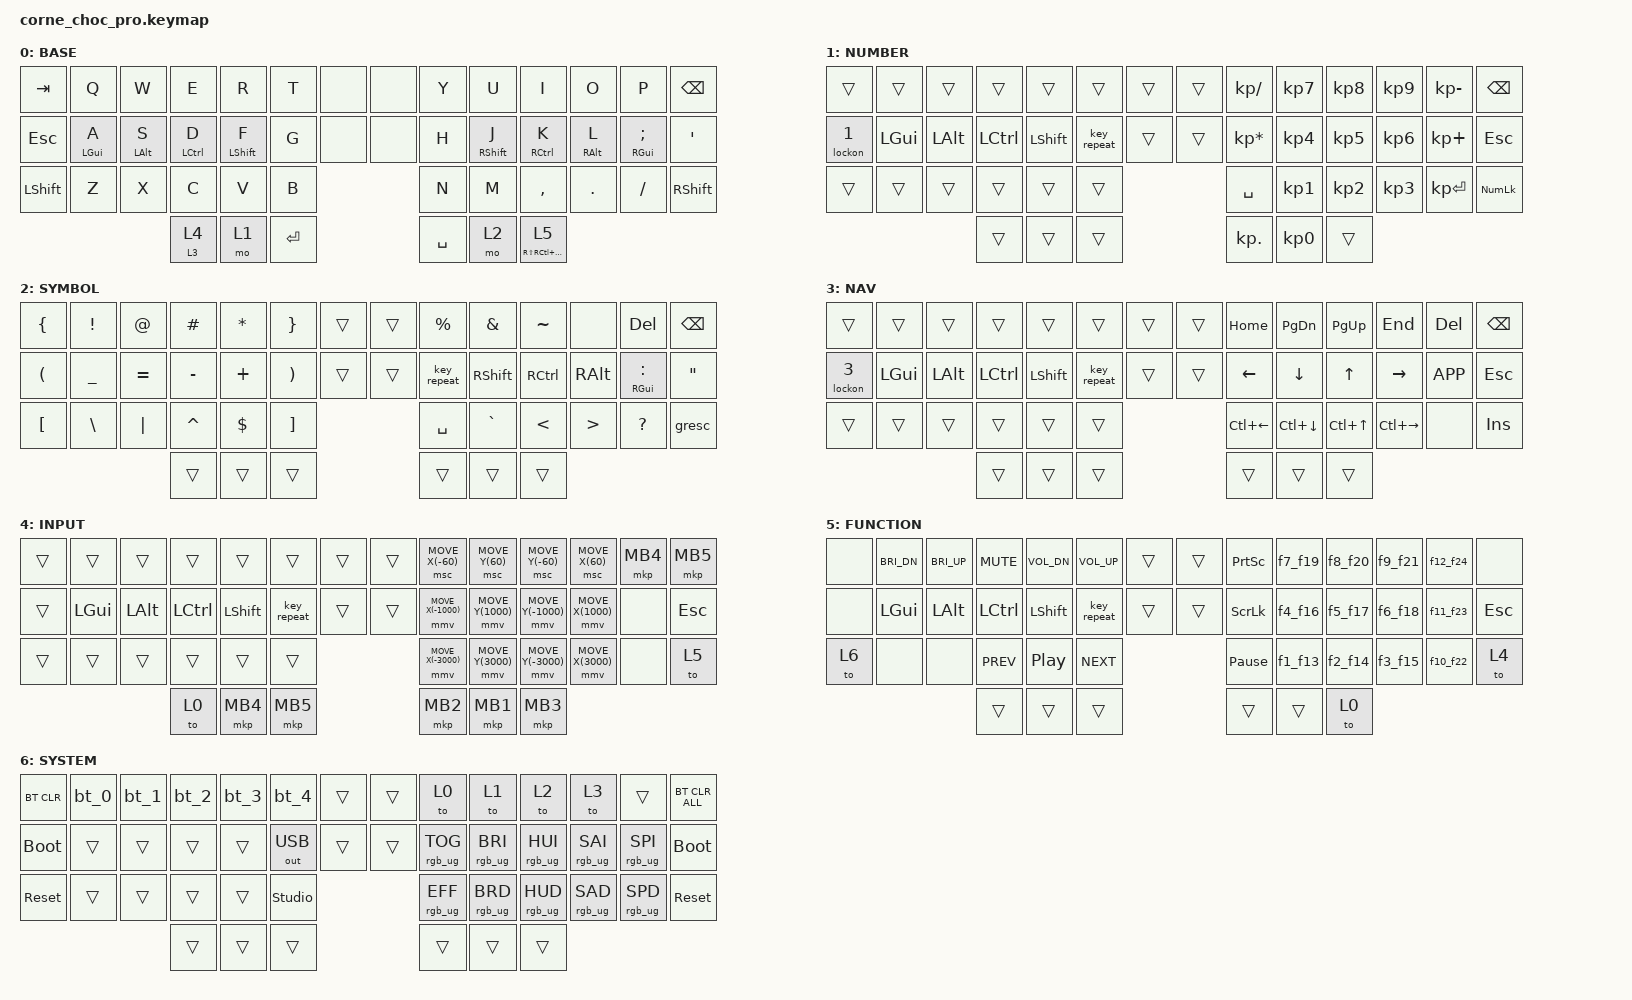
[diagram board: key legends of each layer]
/*
 * Copyright (c) 2020 The ZMK Contributors
 *
 * SPDX-License-Identifier: MIT
 */

#include <behaviors.dtsi>
#include <dt-bindings/zmk/bt.h>
#include <dt-bindings/zmk/keys.h>
#include <dt-bindings/zmk/outputs.h>
#include <dt-bindings/zmk/pointing.h>
#include <dt-bindings/zmk/rgb.h>

/ {
    chosen { zmk,physical-layout = &default_layout; };

    behaviors {
        lhrm: l_home_row_mod {
            compatible = "zmk,behavior-hold-tap";
            label = "L_HOME_ROW_MOD";
            bindings = <&kp>, <&kp>;

            #binding-cells = <2>;
            tapping-term-ms = <275>;
            flavor = "balanced";
            quick-tap-ms = <175>;
            require-prior-idle-ms = <150>;
            hold-trigger-on-release;
            hold-trigger-key-positions = <7 8 9 10 11 12 13 21 22 23 24 25 26 27 34 35 36 37 38 39 43 44 45 41 42 40>;
        };

        rhrm: r_home_row_mod {
            compatible = "zmk,behavior-hold-tap";
            label = "R_HOME_ROW_MOD";
            bindings = <&kp>, <&kp>;

            #binding-cells = <2>;
            tapping-term-ms = <275>;
            flavor = "balanced";
            quick-tap-ms = <175>;
            require-prior-idle-ms = <150>;
            hold-trigger-on-release;
            hold-trigger-key-positions = <0 1 2 3 4 5 6 14 15 16 17 18 19 20 28 29 30 31 32 33 40 41 42 43 44 45>;
        };

        hldto: hldto {
            compatible = "zmk,behavior-hold-tap";
            label = "HLDTO";
            bindings = <&kp>, <&to>;

            #binding-cells = <2>;
            tapping-term-ms = <150>;
        };

        f1_f13: f1_f13 {
            compatible = "zmk,behavior-mod-morph";
            label = "F1_F13";
            bindings = <&kp F1>, <&kp F13>;

            #binding-cells = <0>;
            mods = <(MOD_LSFT)>;
        };

        f2_f14: f2_f14 {
            compatible = "zmk,behavior-mod-morph";
            label = "F2_F14";
            bindings = <&kp F2>, <&kp F14>;

            #binding-cells = <0>;
            mods = <(MOD_LSFT)>;
        };

        f3_f15: f3_f15 {
            compatible = "zmk,behavior-mod-morph";
            label = "F3_F15";
            bindings = <&kp F3>, <&kp F15>;

            #binding-cells = <0>;
            mods = <(MOD_LSFT)>;
        };

        f4_f16: f4_f16 {
            compatible = "zmk,behavior-mod-morph";
            label = "F4_F16";
            bindings = <&kp F4>, <&kp F16>;

            #binding-cells = <0>;
            mods = <(MOD_LSFT)>;
        };

        f5_f17: f5_f17 {
            compatible = "zmk,behavior-mod-morph";
            label = "F5_F17";
            bindings = <&kp F5>, <&kp F17>;

            #binding-cells = <0>;
            mods = <(MOD_LSFT)>;
        };

        f6_f18: f6_f18 {
            compatible = "zmk,behavior-mod-morph";
            label = "F6_F18";
            bindings = <&kp F6>, <&kp F18>;

            #binding-cells = <0>;
            mods = <(MOD_LSFT)>;
        };

        f7_f19: f7_f19 {
            compatible = "zmk,behavior-mod-morph";
            label = "F7_F19";
            bindings = <&kp F7>, <&kp F19>;

            #binding-cells = <0>;
            mods = <(MOD_LSFT)>;
        };

        f8_f20: f8_f20 {
            compatible = "zmk,behavior-mod-morph";
            label = "F8_F20";
            bindings = <&kp F8>, <&kp F20>;

            #binding-cells = <0>;
            mods = <(MOD_LSFT)>;
        };

        f9_f21: f9_f21 {
            compatible = "zmk,behavior-mod-morph";
            label = "F9_F21";
            bindings = <&kp F9>, <&kp F21>;

            #binding-cells = <0>;
            mods = <(MOD_LSFT)>;
        };

        f10_f22: f10_f22 {
            compatible = "zmk,behavior-mod-morph";
            label = "F10_F22";
            bindings = <&kp F10>, <&kp F22>;

            #binding-cells = <0>;
            mods = <(MOD_LSFT)>;
        };

        f11_f23: f11_f23 {
            compatible = "zmk,behavior-mod-morph";
            label = "F11_F23";
            bindings = <&kp F11>, <&kp F23>;

            #binding-cells = <0>;
            mods = <(MOD_LSFT)>;
        };

        f12_f24: f12_f24 {
            compatible = "zmk,behavior-mod-morph";
            label = "F12_F24";
            bindings = <&kp F12>, <&kp F24>;

            #binding-cells = <0>;
            mods = <(MOD_LSFT)>;
        };

        lockon: lockon {
            compatible = "zmk,behavior-toggle-layer";
            label = "LOCKON";
            #binding-cells = <1>;
            /*locking;*/
        };

        moto: moto {
            compatible = "zmk,behavior-hold-tap";
            label = "MOTO";
            bindings = <&mo>, <&to>;

            #binding-cells = <2>;
            tapping-term-ms = <200>;
        };
    };

    combos {
        compatible = "zmk,combos";

        RParen {
            bindings = <&kp RIGHT_PARENTHESIS>;
            require-prior-idle-ms = <100>;
            key-positions = <11 12>;
            layers = <0 1>;
        };

        LParen {
            bindings = <&kp LEFT_PARENTHESIS>;
            require-prior-idle-ms = <100>;
            key-positions = <1 2>;
            layers = <0 1>;
        };

        Exclam {
            bindings = <&kp EXCLAMATION>;
            require-prior-idle-ms = <100>;
            key-positions = <37 38>;
            layers = <0>;
        };

        Capslock {
            bindings = <&kp CAPS>;
            key-positions = <28 39>;
            layers = <0>;
        };

        Delete {
            bindings = <&kp DEL>;
            key-positions = <12 13>;
            layers = <0 1 2 3>;
        };

        Base {
            bindings = <&to 0>;
            key-positions = <43 42>;
            require-prior-idle-ms = <100>;
        };

        Hyphen {
            bindings = <&kp MINUS>;
            require-prior-idle-ms = <100>;
            key-positions = <36 37>;
            layers = <0>;
        };
    };

    macros {
        bt_0: bt_0 {
            compatible = "zmk,behavior-macro";
            #binding-cells = <0>;
            bindings = <&out OUT_BLE &bt BT_SEL 0>;
            label = "BT_0";
        };

        bt_1: bt_1 {
            compatible = "zmk,behavior-macro";
            #binding-cells = <0>;
            bindings = <&out OUT_BLE &bt BT_SEL 1>;
            label = "BT_1";
        };

        bt_2: bt_2 {
            compatible = "zmk,behavior-macro";
            #binding-cells = <0>;
            bindings = <&out OUT_BLE &bt BT_SEL 2>;
            label = "BT_2";
        };

        bt_3: bt_3 {
            compatible = "zmk,behavior-macro";
            #binding-cells = <0>;
            bindings = <&out OUT_BLE &bt BT_SEL 3>;
            label = "BT_3";
        };

        bt_4: bt_4 {
            compatible = "zmk,behavior-macro";
            #binding-cells = <0>;
            bindings = <&out OUT_BLE &bt BT_SEL 4>;
            label = "BT_4";
        };
    };

    keymap {
        compatible = "zmk,keymap";

        dmrBase {
            bindings = <
&kp TAB    &kp Q         &kp W         &kp E          &kp R          &kp T      &none  &none  &kp Y      &kp U          &kp I                  &kp O         &kp P            &kp BSPC
&kp ESC    &lhrm LGUI A  &lhrm LALT S  &lhrm LCTRL D  &lhrm LSHFT F  &kp G      &none  &none  &kp H      &rhrm RSHFT J  &rhrm RCTRL K          &rhrm RALT L  &rhrm RGUI SEMI  &kp SQT
&kp LSHFT  &kp Z         &kp X         &kp C          &kp V          &kp B                    &kp N      &kp M          &kp COMMA              &kp DOT       &kp FSLH         &kp RSHFT
                                       &moto 3 4      &mo 1          &kp ENTER                &kp SPACE  &mo 2          &hldto RS(RC(RALT)) 5
            >;

            label = "BASE";
        };

        dmrNum {
            bindings = <
&trans     &trans    &trans    &trans     &trans     &trans       &trans  &trans  &kp KP_SLASH     &kp KP_N7  &kp KP_N8  &kp KP_N9  &kp KP_MINUS  &kp BSPC
&lockon 1  &kp LGUI  &kp LALT  &kp LCTRL  &kp LSHFT  &key_repeat  &trans  &trans  &kp KP_MULTIPLY  &kp KP_N4  &kp KP_N5  &kp KP_N6  &kp KP_PLUS   &kp ESC
&trans     &trans    &trans    &trans     &trans     &trans                       &kp SPACE        &kp KP_N1  &kp KP_N2  &kp KP_N3  &kp KP_ENTER  &kp KP_NUM
                               &trans     &trans     &trans                       &kp KP_DOT       &kp KP_N0  &trans
            >;

            label = "NUMBER";
        };

        dmrSym {
            bindings = <
&kp LEFT_BRACE        &kp EXCLAMATION  &kp AT_SIGN  &kp POUND  &kp ASTRK   &kp RIGHT_BRACE        &trans  &trans  &kp PERCENT  &kp AMPERSAND  &kp TILDE      &none             &kp DEL           &kp BSPC
&kp LEFT_PARENTHESIS  &kp UNDERSCORE   &kp EQUAL    &kp MINUS  &kp PLUS    &kp RIGHT_PARENTHESIS  &trans  &trans  &key_repeat  &kp RSHFT      &kp RCTRL      &kp RALT          &rhrm RGUI COLON  &kp DOUBLE_QUOTES
&kp LBKT              &kp BSLH         &kp PIPE     &kp CARET  &kp DOLLAR  &kp RBKT                               &kp SPACE    &kp GRAVE      &kp LESS_THAN  &kp GREATER_THAN  &kp QUESTION      &gresc
                                                    &trans     &trans      &trans                                 &trans       &trans         &trans
            >;

            label = "SYMBOL";
        };

        dmrNav {
            bindings = <
&trans     &trans    &trans    &trans     &trans     &trans       &trans  &trans  &kp HOME      &kp PG_DN     &kp PG_UP   &kp END        &kp DEL    &kp BSPC
&lockon 3  &kp LGUI  &kp LALT  &kp LCTRL  &kp LSHFT  &key_repeat  &trans  &trans  &kp LEFT      &kp DOWN      &kp UP      &kp RIGHT      &kp K_APP  &kp ESC
&trans     &trans    &trans    &trans     &trans     &trans                       &kp LC(LEFT)  &kp LC(DOWN)  &kp LC(UP)  &kp LC(RIGHT)  &none      &kp INS
                               &trans     &trans     &trans                       &trans        &trans        &trans
            >;

            label = "NAV";
        };

        dmrInput {
            bindings = <
&trans  &trans    &trans    &trans     &trans     &trans       &trans  &trans  &msc MOVE_X(-60)    &msc MOVE_Y(60)    &msc MOVE_Y(-60)    &msc MOVE_X(60)    &mkp MB4  &mkp MB5
&trans  &kp LGUI  &kp LALT  &kp LCTRL  &kp LSHFT  &key_repeat  &trans  &trans  &mmv MOVE_X(-1000)  &mmv MOVE_Y(1000)  &mmv MOVE_Y(-1000)  &mmv MOVE_X(1000)  &none     &kp ESC
&trans  &trans    &trans    &trans     &trans     &trans                       &mmv MOVE_X(-3000)  &mmv MOVE_Y(3000)  &mmv MOVE_Y(-3000)  &mmv MOVE_X(3000)  &none     &to 5
                            &to 0      &mkp MB4   &mkp MB5                     &mkp MB2            &mkp MB1           &mkp MB3
            >;

            label = "INPUT";
        };

        dmrFn {
            bindings = <
&none  &kp C_BRI_DN  &kp C_BRI_UP  &kp C_MUTE  &kp C_VOL_DN  &kp C_VOL_UP  &trans  &trans  &kp PSCRN        &f7_f19  &f8_f20  &f9_f21  &f12_f24  &none
&none  &kp LGUI      &kp LALT      &kp LCTRL   &kp LSHFT     &key_repeat   &trans  &trans  &kp SLCK         &f4_f16  &f5_f17  &f6_f18  &f11_f23  &kp ESC
&to 6  &none         &none         &kp C_PREV  &kp C_PP      &kp C_NEXT                    &kp PAUSE_BREAK  &f1_f13  &f2_f14  &f3_f15  &f10_f22  &to 4
                                   &trans      &trans        &trans                        &trans           &trans   &to 0
            >;

            label = "FUNCTION";
        };

        dmrSys {
            bindings = <
&bt BT_CLR   &bt_0   &bt_1   &bt_2   &bt_3   &bt_4           &trans  &trans  &to 0            &to 1            &to 2            &to 3            &trans           &bt BT_CLR_ALL
&bootloader  &trans  &trans  &trans  &trans  &out OUT_USB    &trans  &trans  &rgb_ug RGB_TOG  &rgb_ug RGB_BRI  &rgb_ug RGB_HUI  &rgb_ug RGB_SAI  &rgb_ug RGB_SPI  &bootloader
&sys_reset   &trans  &trans  &trans  &trans  &studio_unlock                  &rgb_ug RGB_EFF  &rgb_ug RGB_BRD  &rgb_ug RGB_HUD  &rgb_ug RGB_SAD  &rgb_ug RGB_SPD  &sys_reset
                             &trans  &trans  &trans                          &trans           &trans           &trans
            >;

            label = "SYSTEM";
        };
    };
};
